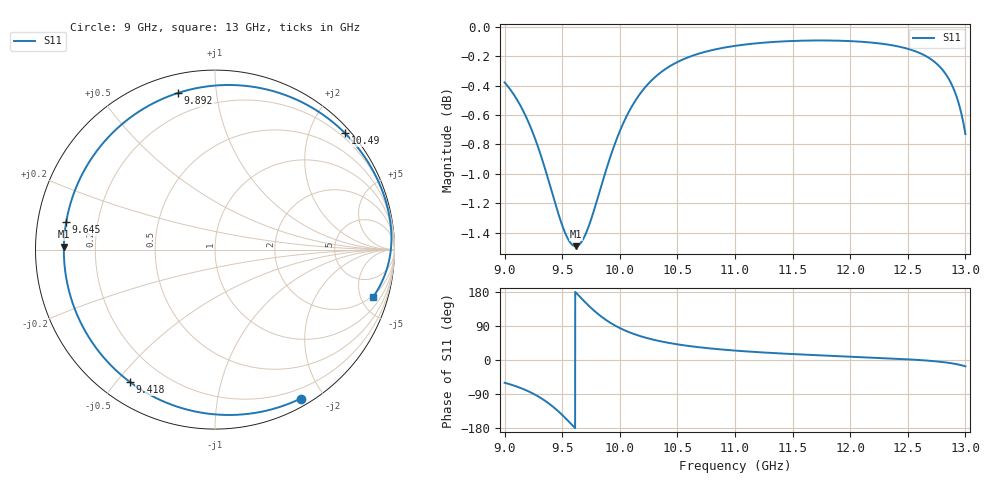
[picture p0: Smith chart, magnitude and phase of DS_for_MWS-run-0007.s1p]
! TOUCHSTONE file generated by CST DESIGN STUDIO
! Date and time: Tue Feb  4 18:40:46 2025
! Project name: C:\Work\MatlabApps\UnitCellOptimizationMatlab\CST\unitcell.cst
! Tree item: Tasks\Sweep1\SPara1\S-Parameters
! Header version: 2024
! Port assignment regex: !\s*Touchstone port\s*([0-9]+)\s*=\s*(CST MWS port|CST DES external port|CST DES block port)\s*(.+)\s* \(\"(.*)\"\)(\s*mode\s*([0-9]+))?.*
! Touchstone port assignment:
! Touchstone port 1 = CST DES external port 1 ("")
# GHz S MA R 50
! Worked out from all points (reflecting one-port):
!   4001 points, 9 GHz to 13 GHz, reference 50 ohm
!   lowest |S11| = -1.5 dB at 9.616 GHz (marker M1), VSWR 11.68, Z = 4.28 + j0.497 ohm
!   phase of S11 starts at -60 deg and turns -317 deg over the sweep
!   S11 on the Smith chart (normalised r, x): 9 GHz: 0.09, -1.73; 9.418 GHz: 0.09, -0.54; 9.645 GHz: 0.09, +0.09; 9.892 GHz: 0.09, +0.79; 10.49 GHz: 0.11, +2.61; 13 GHz: 1.83, -6.27
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9  0.9574 -60.1
9.129  0.9414 -72.7
9.257  0.9178 -90.2
9.343  0.897 -105.9
9.418  0.8767 -122.8
9.459  0.8658 -133.4
9.5  0.8561 -145.0
9.56  0.8457 -163.2
9.616  0.8422 178.9
9.645  0.8432 169.5
9.703  0.8502 151.4
9.771  0.865 131.8
9.83  0.8804 116.8
9.892  0.8968 103.2
10  0.9216 84.3
10.103  0.9394 70.8
10.215  0.9532 59.6
10.342  0.964 50.1
10.489  0.9723 41.9
10.5  0.9728 41.3
10.72  0.9801 32.6
11  0.9852 24.9
11.5  0.9889 15.7
12  0.9888 8.9
12.5  0.9829 1.8
12.8  0.967 -5.3
12.911  0.9498 -10.2
13  0.9194 -16.7
